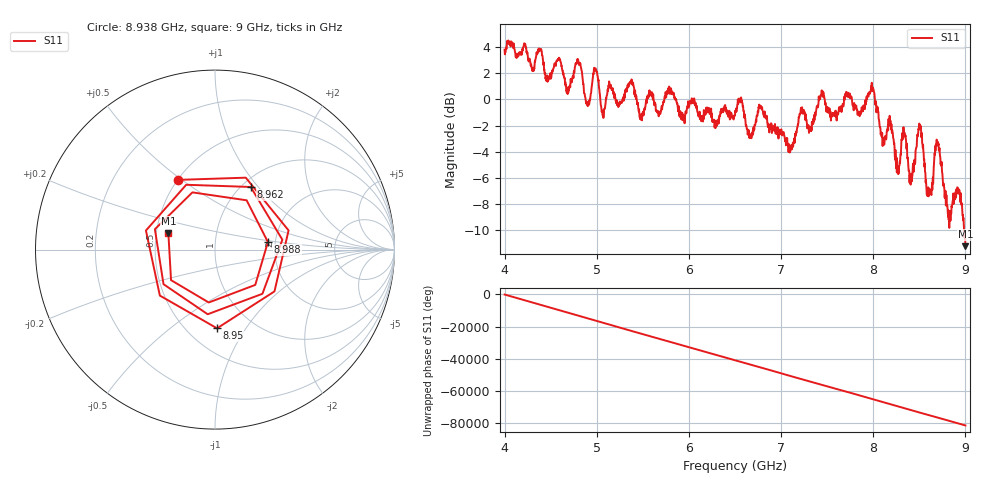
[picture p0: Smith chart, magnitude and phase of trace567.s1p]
! Created with skrf 1.8.0 (http://scikit-rf.org).
# Hz S RI R 50.0
!freq ReS11 ImS11
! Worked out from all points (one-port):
!   1601 points, 4 GHz to 9 GHz, reference 50 ohm
!   lowest |S11| = -11.2 dB at 9 GHz (marker M1), VSWR 1.76, Z = 29 + j5.71 ohm
!   |S11| at or under -10 dB: 8.985376 GHz to end of sweep
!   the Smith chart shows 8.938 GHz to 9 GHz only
!   S11 on the Smith chart (normalised r, x): 8.938 GHz: 0.50, +0.48; 8.95 GHz: 0.69, -0.75; 8.962 GHz: 1.10, +0.91; 8.988 GHz: 1.83, +0.17; 9 GHz: 0.58, +0.11
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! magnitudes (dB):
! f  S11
! 4 GHz  3.8
! 4.625 GHz  2.3
! 5.25 GHz  -0.2
! 5.369 GHz  1.3
! 5.484 GHz  -1.1
! 5.875 GHz  -0.3
! 6.5 GHz  -1.2
! 6.672 GHz  -2.7
! 6.781 GHz  -0.5
! 7.125 GHz  -3.6
! 7.434 GHz  0.3
! 7.75 GHz  0.1
! 7.991 GHz  0.6
! 8.103 GHz  -3.6
! 8.191 GHz  -1.8
! 8.269 GHz  -5.7
! 8.331 GHz  -2.5
! 8.375 GHz  -4.4
! 8.419 GHz  -6.2
! 8.503 GHz  -2.1
! 8.603 GHz  -7.0
! 8.697 GHz  -3.3
! 8.822 GHz  -8.8
! 8.938 GHz  -7.1
! 8.95 GHz  -7.2
! 8.962 GHz  -7.9
! 8.988 GHz  -10.5
! 9 GHz  -11.2
